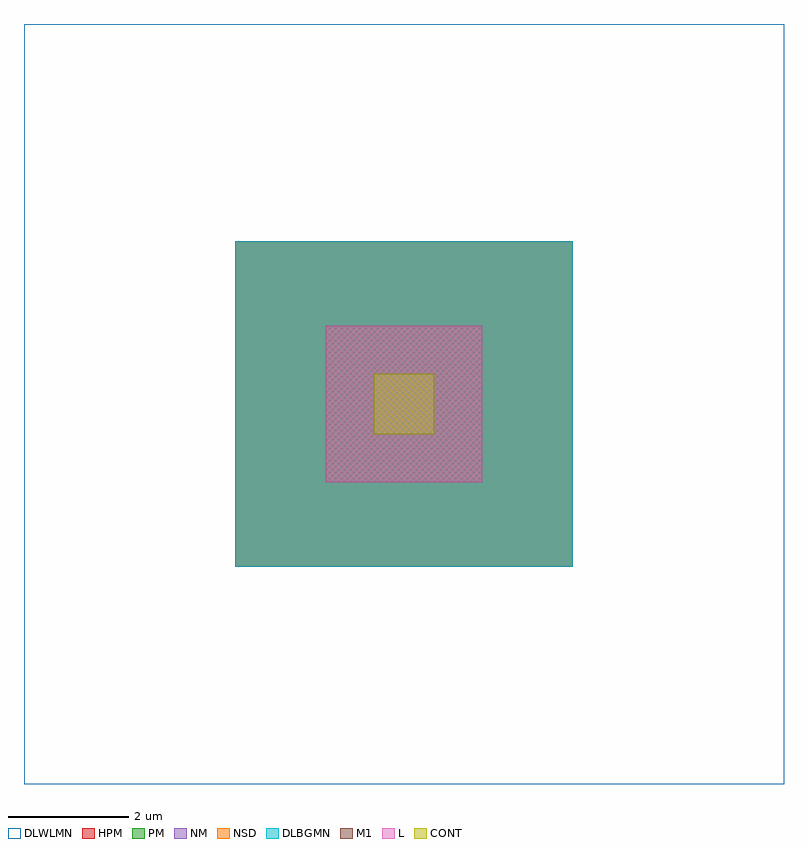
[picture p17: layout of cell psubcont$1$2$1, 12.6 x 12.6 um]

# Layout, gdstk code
import gdstk
lib = gdstk.Library(unit=1e-6, precision=1e-09)
def R(c, l, rs):  # rectangles x0, y0, x1, y1
    for r in rs: c.add(gdstk.rectangle(r[:2], r[2:], *l))
L = (3, 0)
NM = (7, 0)
CONT = (11, 0)
M1 = (13, 0)
NSD = (28, 0)
HPM = (33, 0)
PM = (35, 0)
DLWLMN = (151, 0)
DLBGMN = (178, 0)

dcont_1_2_1 = lib.new_cell('DCONT$1$2$1')
R(dcont_1_2_1, L, [(-1.3,-1.3,1.3,1.3)])
R(dcont_1_2_1, CONT, [(-0.5,-0.5,0.5,0.5)])
R(dcont_1_2_1, M1, [(-1.3,-1.3,1.3,1.3), (-0.5,-0.5,0.5,0.5)])

psubcont_1_2_1 = lib.new_cell('psubcont$1$2$1')
R(psubcont_1_2_1, NM, [(-2.8,-2.7,2.8,2.7)])
R(psubcont_1_2_1, NSD, [(-2.8,-2.7,2.8,2.7)])
R(psubcont_1_2_1, HPM, [(-2.8,-2.7,2.8,2.7)])
R(psubcont_1_2_1, PM, [(-2.8,-2.7,2.8,2.7)])
R(psubcont_1_2_1, DLWLMN, [(-6.3,-6.3,6.3,6.3)])
R(psubcont_1_2_1, DLBGMN, [(-2.8,-2.7,2.8,2.7)])
psubcont_1_2_1.add(gdstk.Reference(dcont_1_2_1, (0,0)))

lib.write_gds('psubcont_1_2_1.gds')
